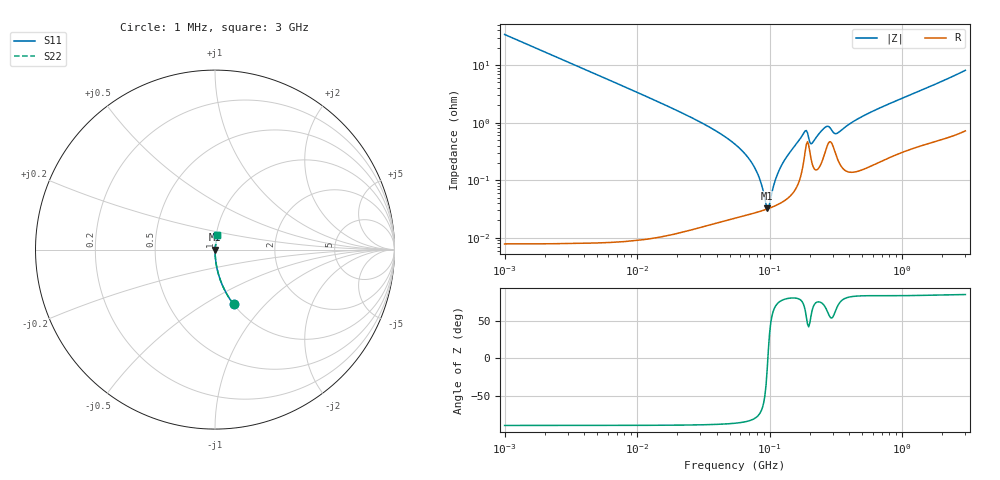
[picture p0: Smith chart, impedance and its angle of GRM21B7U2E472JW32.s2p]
!Murata Part Number: GRM21B7U2E472JW32
!These Parameters are Measured in Series Mode Connection
!Data Generated on Mar 30, 2021
!  o--ll--o
!Port1  Port2
!  o------o
!Operation Temp=25[degC], DC Bias Voltage=0[V]
!Freq. Start=1000[kHz] Stop=3[GHz] 401[Steps]
# Hz S RI R 50
!Freq.(Hz) S11(Real) S11(Imag) S21(Real) S21(Imag) S12(Real) S12(Imag) S22(Real) S22(Imag)
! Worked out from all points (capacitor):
!   401 points, 1 MHz to 3 GHz, reference 50 ohm
!   read as one part in series: C = 4.69 nF near 1.041 MHz
!   lowest |Z| = 32.6 mohm at 95.93 MHz (marker M1)
!   series resonance near 96.97 MHz, so ESL is about 570 pH
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1000000  0.1032 -0.3041  0.8968 0.3041  0.8968 0.3041  0.1032 -0.3041
1935809  0.0298 -0.1699  0.9702 0.1699  0.9702 0.1699  0.0298 -0.1699
3823119  0.00786 -0.0878  0.9921 0.0878  0.9921 0.0878  0.00786 -0.0878
1.461624e7  0.000614 -0.0226  0.9994 0.0226  0.9994 0.0226  0.000614 -0.0226
3.387922e7  0.00024 -0.00875  0.9998 0.00875  0.9998 0.00875  0.00024 -0.00875
5.477226e7  0.000237 -0.00421  0.9998 0.00421  0.9998 0.00421  0.000237 -0.00421
6.690964e7  0.000254 -0.00266  0.9997 0.00266  0.9997 0.00266  0.000254 -0.00266
7.697298e7  0.000272 -0.00164  0.9997 0.00164  0.9997 0.00164  0.000272 -0.00164
8.507507e7  0.000289 -0.000928  0.9997 0.000928  0.9997 0.000928  0.000289 -0.000928
9.216659e7  0.000307 -0.000361  0.9997 0.000361  0.9997 0.000361  0.000307 -0.000361
9.593103e7  0.000316 -7.63e-05  0.9997 7.63e-05  0.9997 7.63e-05  0.000316 -7.63e-05
9.984923e7  0.000327 0.00021  0.9997 -0.00021  0.9997 -0.00021  0.000327 0.00021
1.081723e8  0.000354 0.000791  0.9996 -0.000791  0.9996 -0.000791  0.000354 0.000791
1.171891e8  0.000387 0.00139  0.9996 -0.00139  0.9996 -0.00139  0.000387 0.00139
1.403209e8  0.000517 0.00288  0.9995 -0.00288  0.9995 -0.00288  0.000517 0.00288
1.857042e8  0.00325 0.00639  0.9968 -0.00639  0.9968 -0.00639  0.00325 0.00639
2.094008e8  0.00194 0.00394  0.9981 -0.00394  0.9981 -0.00394  0.00194 0.00394
2.662515e8  0.00346 0.00771  0.9965 -0.00771  0.9965 -0.00771  0.00346 0.00771
3.252521e8  0.00236 0.00612  0.9976 -0.00612  0.9976 -0.00612  0.00236 0.00612
4.66327e8  0.00157 0.0116  0.9984 -0.0116  0.9984 -0.0116  0.00157 0.0116
8.005644e8  0.0029 0.021  0.9971 -0.021  0.9971 -0.021  0.0029 0.021
3e9  0.0135 0.079  0.9865 -0.079  0.9865 -0.079  0.0135 0.079
